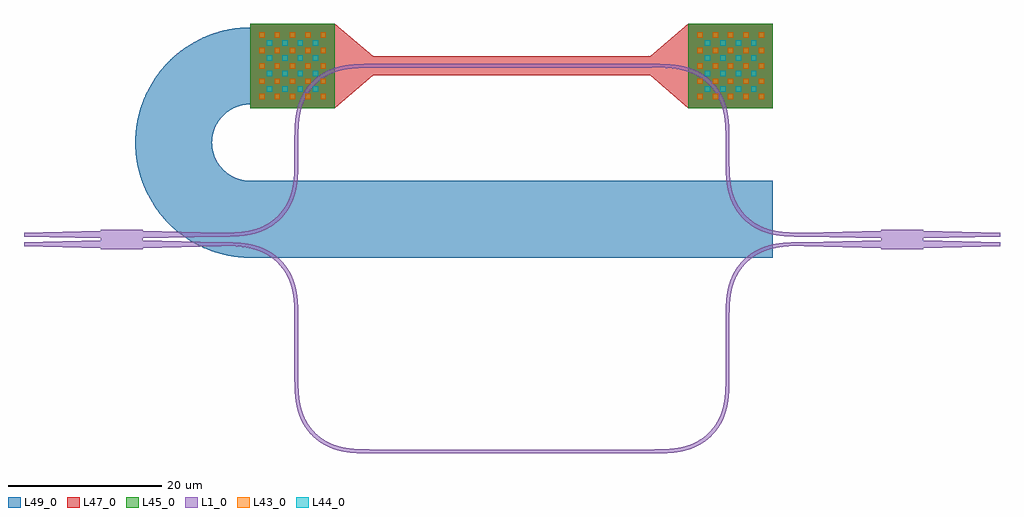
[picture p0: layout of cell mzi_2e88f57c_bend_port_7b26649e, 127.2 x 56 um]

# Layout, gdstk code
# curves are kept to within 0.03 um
from math import pi, radians
import gdstk
lib = gdstk.Library(unit=1e-6, precision=1e-09)
def R(c, l, rs):  # rectangles x0, y0, x1, y1
    for r in rs: c.add(gdstk.rectangle(r[:2], r[2:], *l))
def P(c, l, *ps):  # polygons
    for p in ps: c.add(gdstk.Polygon(p, *l))
L1_0 = (1, 0)
L43_0 = (43, 0)
L44_0 = (44, 0)
L45_0 = (45, 0)
L47_0 = (47, 0)
L49_0 = (49, 0)

mmi2x2 = lib.new_cell('mmi2x2')
R(mmi2x2, L1_0, [(0,-1.25,5.5,1.25)])
P(mmi2x2, L1_0, [(-10,-0.375),(0,-0.125),(0,-1.125),(-10,-0.875)],
  [(-10,0.875),(0,1.125),(0,0.125),(-10,0.375)],
  [(15.5,0.375),(5.5,0.125),(5.5,1.125),(15.5,0.875)],
  [(15.5,-0.875),(5.5,-1.125),(5.5,-0.125),(15.5,-0.375)])

bend_euler_9e0718a0 = lib.new_cell('bend_euler_9e0718a0')
P(bend_euler_9e0718a0, L1_0, [(0,-0.25),(1.498,-0.236),(2.724,-0.165),(3.761,-0.026),(4.739,0.201),(5.691,0.544),(6.428,0.918),(7.158,1.402),(7.859,2.003),(8.479,2.689),(9.033,3.488),(9.456,4.309),(9.799,5.261),(10.026,6.239),(10.165,7.276),(10.236,8.502),(10.25,10),(9.75,10),(9.727,8.239),(9.634,7.004),(9.463,5.971),(9.18,4.971),(8.884,4.263),(8.508,3.59),(8.088,3),(7.575,2.425),(7,1.912),(6.41,1.492),(5.737,1.116),(5.029,0.82),(4.029,0.537),(2.996,0.366),(1.761,0.273),(0,0.25)])

straight_a4be237b = lib.new_cell('straight_a4be237b')
R(straight_a4be237b, L1_0, [(0,-0.25,7,0.25)])

straight_6870e926 = lib.new_cell('straight_6870e926')
R(straight_6870e926, L1_0, [(0,-0.25,0.1,0.25)])

straight_fba69bc3 = lib.new_cell('straight_fba69bc3')
R(straight_fba69bc3, L1_0, [(0,-0.25,2,0.25)])

straight_1aa74c1c = lib.new_cell('straight_1aa74c1c')
R(straight_1aa74c1c, L1_0, [(0,-0.25,18.05,0.25)])
R(straight_1aa74c1c, L47_0, [(0,-1.25,18.05,1.25)])

component_sequence_45111 = lib.new_cell('component_sequence_45111566')
component_sequence_45111.add(gdstk.Reference(straight_1aa74c1c, (0,0)))
component_sequence_45111.add(gdstk.Reference(straight_1aa74c1c, (18.05,0)))

compass_8277d85c = lib.new_cell('compass_8277d85c')
R(compass_8277d85c, L47_0, [(-5.5,-5.5,5.5,5.5)])

compass_6419de30 = lib.new_cell('compass_6419de30')
R(compass_6419de30, L45_0, [(-5.5,-5.5,5.5,5.5)])

compass_0253aeff = lib.new_cell('compass_0253aeff')
R(compass_0253aeff, L49_0, [(-5.5,-5.5,5.5,5.5)])

via_ebd8e362 = lib.new_cell('via_ebd8e362')
R(via_ebd8e362, L44_0, [(-0.35,-0.35,0.35,0.35)])

via_fd13653e = lib.new_cell('via_fd13653e')
R(via_fd13653e, L43_0, [(-0.35,-0.35,0.35,0.35)])

via_stack_02e7e014 = lib.new_cell('via_stack_02e7e014')
via_stack_02e7e014.add(gdstk.Reference(compass_8277d85c, (0,0)))
via_stack_02e7e014.add(gdstk.Reference(compass_6419de30, (0,0)))
via_stack_02e7e014.add(gdstk.Reference(compass_0253aeff, (0,0)))
r = gdstk.Reference(via_ebd8e362, (-3,-3)); r.repetition = gdstk.Repetition(4, 4, v1=(2,0), v2=(0,2)); via_stack_02e7e014.add(r)
r = gdstk.Reference(via_fd13653e, (-4,-4)); r.repetition = gdstk.Repetition(5, 5, v1=(2,0), v2=(0,2)); via_stack_02e7e014.add(r)

taper_13d39a01 = lib.new_cell('taper_13d39a01')
P(taper_13d39a01, L47_0, [(0,5.5),(5,1.25),(5,-1.25),(0,-5.5)])

straight_heater_metal_u_ = lib.new_cell('straight_heater_metal_u_f37dff5c')
straight_heater_metal_u_.add(gdstk.Reference(component_sequence_45111, (0,0)))
straight_heater_metal_u_.add(gdstk.Reference(via_stack_02e7e014, (-10.5,0)))
straight_heater_metal_u_.add(gdstk.Reference(via_stack_02e7e014, (46.6,0)))
straight_heater_metal_u_.add(gdstk.Reference(taper_13d39a01, (-5,0)))
straight_heater_metal_u_.add(gdstk.Reference(taper_13d39a01, (41.1,0), rotation=pi))

straight_fa3a3f2f = lib.new_cell('straight_fa3a3f2f')
R(straight_fa3a3f2f, L1_0, [(0,-0.25,0.09,0.25)])

straight_c804d8bd = lib.new_cell('straight_c804d8bd')
R(straight_c804d8bd, L1_0, [(0,-0.25,2,0.25)])

straight_4ae164bc = lib.new_cell('straight_4ae164bc')
R(straight_4ae164bc, L1_0, [(0,-0.25,0.01,0.25)])

straight_d494dd99 = lib.new_cell('straight_d494dd99')
R(straight_d494dd99, L1_0, [(0,-0.25,36.09,0.25)])

straight_32d14105 = lib.new_cell('straight_32d14105')
R(straight_32d14105, L1_0, [(0,-0.25,7,0.25)])

mzi_2e88f57c = lib.new_cell('mzi_2e88f57c')
mzi_2e88f57c.add(gdstk.Reference(mmi2x2, (0,0)))
mzi_2e88f57c.add(gdstk.Reference(mmi2x2, (107.2,0), rotation=pi, x_reflection=True))
mzi_2e88f57c.add(gdstk.Reference(bend_euler_9e0718a0, (15.5,-0.625), x_reflection=True))
mzi_2e88f57c.add(gdstk.Reference(straight_a4be237b, (25.5,-10.625), rotation=3*pi/2))
mzi_2e88f57c.add(gdstk.Reference(bend_euler_9e0718a0, (25.5,-17.625), rotation=3*pi/2))
mzi_2e88f57c.add(gdstk.Reference(straight_6870e926, (35.5,-27.625)))
mzi_2e88f57c.add(gdstk.Reference(bend_euler_9e0718a0, (15.5,0.625)))
mzi_2e88f57c.add(gdstk.Reference(straight_fba69bc3, (25.5,10.625), rotation=pi/2))
mzi_2e88f57c.add(gdstk.Reference(bend_euler_9e0718a0, (35.5,22.625), rotation=pi))
mzi_2e88f57c.add(gdstk.Reference(straight_heater_metal_u_, (35.5,22.625)))
mzi_2e88f57c.add(gdstk.Reference(bend_euler_9e0718a0, (71.69,22.625), x_reflection=True))
mzi_2e88f57c.add(gdstk.Reference(bend_euler_9e0718a0, (81.69,10.625), rotation=3*pi/2))
mzi_2e88f57c.add(gdstk.Reference(straight_fa3a3f2f, (71.6,22.625)))
mzi_2e88f57c.add(gdstk.Reference(straight_c804d8bd, (81.69,12.625), rotation=3*pi/2))
mzi_2e88f57c.add(gdstk.Reference(straight_4ae164bc, (91.69,0.625)))
mzi_2e88f57c.add(gdstk.Reference(bend_euler_9e0718a0, (71.69,-27.625)))
mzi_2e88f57c.add(gdstk.Reference(bend_euler_9e0718a0, (81.69,-10.625), rotation=pi/2, x_reflection=True))
mzi_2e88f57c.add(gdstk.Reference(straight_d494dd99, (35.6,-27.625)))
mzi_2e88f57c.add(gdstk.Reference(straight_32d14105, (81.69,-17.625), rotation=pi/2))
mzi_2e88f57c.add(gdstk.Reference(straight_4ae164bc, (91.69,-0.625)))

bend_circular_fbac826a = lib.new_cell('bend_circular_fbac826a')
P(bend_circular_fbac826a, L49_0, [(0,-5),(1.442,-4.931),(2.87,-4.723),(4.272,-4.379),(5.634,-3.902),(6.944,-3.296),(8.19,-2.567),(9.36,-1.722),(10.537,-0.676),(11.514,0.386),(12.385,1.537),(13.204,2.882),(13.827,4.184),(14.322,5.54),(14.684,6.937),(14.924,8.493),(15,9.934),(14.937,11.376),(14.735,12.806),(14.36,14.335),(13.877,15.695),(13.204,17.118),(12.531,18.245),(11.681,19.411),(10.63,20.583),(9.563,21.556),(8.408,22.422),(7.06,23.235),(5.755,23.852),(4.272,24.379),(2.87,24.723),(1.442,24.931),(0,25),(0,15),(0.957,14.908),(1.878,14.634),(2.803,14.141),(3.512,13.559),(4.153,12.785),(4.592,11.979),(4.895,11.021),(5,10.066),(4.912,9.065),(4.626,8.102),(4.153,7.215),(3.574,6.503),(2.803,5.859),(1.959,5.4),(0.957,5.092),(0,5)])

straight_e7b3e249 = lib.new_cell('straight_e7b3e249')
R(straight_e7b3e249, L49_0, [(0,-5,68.1,5)])

mzi_2e88f57c_bend_port_7 = lib.new_cell('mzi_2e88f57c_bend_port_7b26649e')
mzi_2e88f57c_bend_port_7.add(gdstk.Reference(mzi_2e88f57c, (0,0)))
mzi_2e88f57c_bend_port_7.add(gdstk.Reference(bend_circular_fbac826a, (19.5,22.625), rotation=pi))
mzi_2e88f57c_bend_port_7.add(gdstk.Reference(straight_e7b3e249, (87.6,2.625), rotation=pi))

lib.write_gds('mzi_2e88f57c_bend_port_7b26649e.gds')
